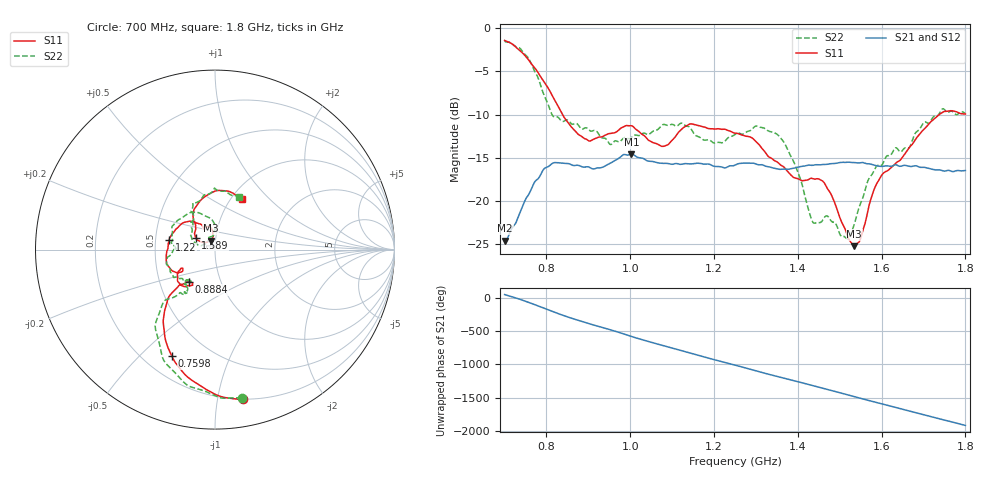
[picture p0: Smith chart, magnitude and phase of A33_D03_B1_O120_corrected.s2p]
! Created with skrf 1.9.0 (http://scikit-rf.org).
# Hz S RI R 50.0
!freq ReS11 ImS11 ReS21 ImS21 ReS12 ImS12 ReS22 ImS22
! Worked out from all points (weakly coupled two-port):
!   1601 points, 700 MHz to 1.8 GHz, reference 50 ohm
!   highest |S21| = -14.56 dB at 1.002 GHz (marker M1); lowest = -24.6 dB at 701.4 MHz (marker M2)
!   lowest |S11| = -25.2 dB at 1.535 GHz (marker M3), VSWR 1.12, Z = 47.4 + j4.69 ohm
!   |S11| at or under -10 dB: 838.5 MHz to 1.737 GHz (898.4 MHz wide, 69.8 % of centre)
!   |S22| runs from -24.4 to -1.5 dB; largest |S21 - S12| = 0.0035
!   S11 on the Smith chart (normalised r, x): 700 MHz: 0.20, -1.19; 759.8 MHz: 0.31, -0.63; 888.4 MHz: 0.70, -0.27; 1.22 GHz: 0.59, +0.07; 1.589 GHz: 0.80, +0.11; 1.8 GHz: 1.13, +0.70
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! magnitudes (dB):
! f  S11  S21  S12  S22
! 700 MHz  -1.4  -24.6  -24.3  -1.5
! 701.4 MHz  -1.4  -24.6  -24.2  -1.5
! 759.8 MHz  -3.9  -19.0  -18.9  -3.7
! 814.8 MHz  -7.9  -15.6  -15.7  -10.1
! 883.6 MHz  -12.5  -16.0  -15.9  -11.7
! 888.4 MHz  -12.7  -16.1  -16.0  -11.6
! 953 MHz  -12.2  -15.6  -15.6  -13.4
! 1.002 GHz  -11.3  -14.6  -14.7  -12.7
! 1.067 GHz  -13.5  -15.6  -15.5  -11.7
! 1.143 GHz  -11.1  -15.7  -15.7  -11.5
! 1.22 GHz  -11.7  -16.1  -16.1  -13.2
! 1.25 GHz  -12.1  -15.8  -15.8  -12.3
! 1.357 GHz  -15.7  -16.3  -16.3  -12.6
! 1.397 GHz  -17.4  -16.1  -16.1  -16.3
! 1.434 GHz  -17.4  -15.9  -15.8  -22.2
! 1.465 GHz  -18.0  -15.8  -15.7  -21.8
! 1.517 GHz  -23.7  -15.5  -15.5  -24.3
! 1.535 GHz  -25.2  -15.5  -15.6  -22.7
! 1.589 GHz  -17.9  -15.9  -15.9  -15.9
! 1.617 GHz  -16.4  -15.9  -15.9  -14.7
! 1.74 GHz  -9.9  -16.4  -16.4  -9.6
! 1.8 GHz  -9.9  -16.5  -16.4  -9.9
